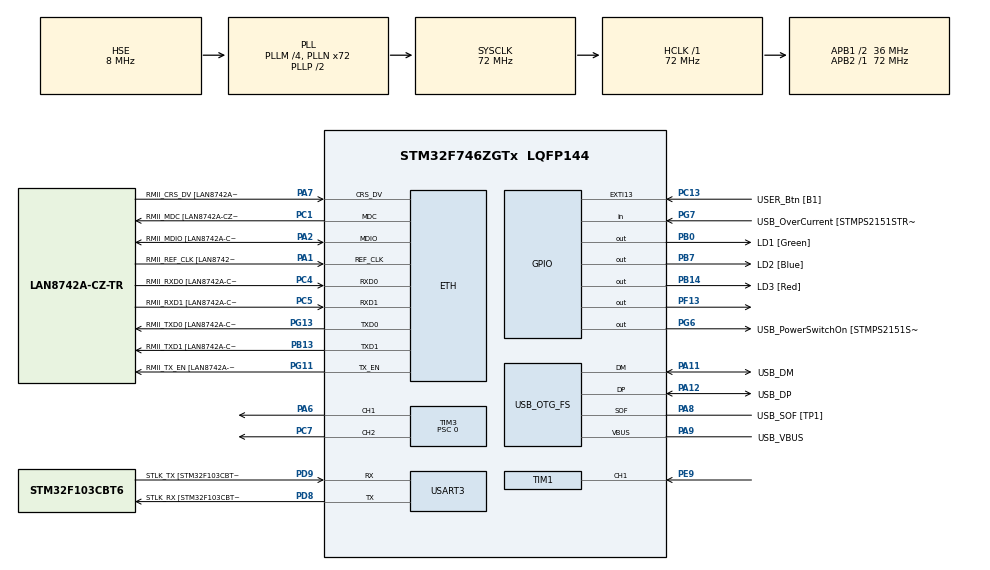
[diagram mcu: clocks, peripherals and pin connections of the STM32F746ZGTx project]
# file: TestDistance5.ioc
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ETH.MediaInterface=HAL_ETH_RMII_MODE
ETH.PHY_Name=LAN8742A_PHY_ADDRESS
ETH.PHY_Value=0
ETH.PhyAddress=0
Mcu.Family=STM32F7
Mcu.Name=STM32F746ZGTx
Mcu.Package=LQFP144
NVIC.PriorityGroup=NVIC_PRIORITYGROUP_4
NVIC.TIM1_CC_IRQn=true\:0\:0\:false\:false\:true\:true\:true\:true
NVIC.TIM3_IRQn=true\:0\:0\:false\:false\:true\:true\:true\:true
NVIC.TIM4_IRQn=true\:0\:0\:false\:false\:true\:true\:true\:true
NVIC.USART3_IRQn=true\:0\:0\:false\:false\:true\:true\:true\:true
PA1.GPIO_Label=RMII_REF_CLK [LAN8742A-CZ-TR_REFCLK0]
PA1.Mode=RMII
PA1.Signal=ETH_REF_CLK
PA10.GPIO_Label=USB_ID
PA10.Signal=USB_OTG_FS_ID
PA11.GPIO_Label=USB_DM
PA11.Mode=Device_Only
PA11.Signal=USB_OTG_FS_DM
PA12.GPIO_Label=USB_DP
PA12.Mode=Device_Only
PA12.Signal=USB_OTG_FS_DP
PA13.GPIO_Label=TMS
PA13.Mode=Serial_Wire
PA13.Signal=SYS_JTMS-SWDIO
PA14.GPIO_Label=TCK
PA14.Mode=Serial_Wire
PA14.Signal=SYS_JTCK-SWCLK
PA2.GPIO_Label=RMII_MDIO [LAN8742A-CZ-TR_MDIO]
PA2.Mode=RMII
PA2.Signal=ETH_MDIO
PA6.Signal=S_TIM3_CH1
PA7.GPIO_Label=RMII_CRS_DV [LAN8742A-CZ-TR_CRS_DV]
PA7.Mode=RMII
PA7.Signal=ETH_CRS_DV
PA8.GPIO_Label=USB_SOF [TP1]
PA8.Mode=Activate_SOF_FS
PA8.Signal=USB_OTG_FS_SOF
PA9.GPIO_Label=USB_VBUS
PA9.Mode=Activate_VBUS
PA9.Signal=USB_OTG_FS_VBUS
PB0.GPIO_Label=LD1 [Green]
PB0.Signal=GPIO_Output
PB13.GPIO_Label=RMII_TXD1 [LAN8742A-CZ-TR_TXD1]
PB13.Mode=RMII
PB13.Signal=ETH_TXD1
PB14.GPIO_Label=LD3 [Red]
PB14.Signal=GPIO_Output
PB3.GPIO_Label=SW0
PB3.Signal=SYS_JTDO-SWO
PB7.GPIO_Label=LD2 [Blue]
PB7.Signal=GPIO_Output
PC1.GPIO_Label=RMII_MDC [LAN8742A-CZ-TR_MDC]
PC1.Mode=RMII
PC1.Signal=ETH_MDC
PC13.GPIO_Label=USER_Btn [B1]
PC13.Signal=GPXTI13
PC14/OSC32_IN.Mode=LSE-External-Oscillator
PC14/OSC32_IN.Signal=RCC_OSC32_IN
PC15/OSC32_OUT.Mode=LSE-External-Oscillator
PC15/OSC32_OUT.Signal=RCC_OSC32_OUT
PC4.GPIO_Label=RMII_RXD0 [LAN8742A-CZ-TR_RXD0]
PC4.Mode=RMII
PC4.Signal=ETH_RXD0
PC5.GPIO_Label=RMII_RXD1 [LAN8742A-CZ-TR_RXD1]
PC5.Mode=RMII
PC5.Signal=ETH_RXD1
PC7.Signal=S_TIM3_CH2
PD8.GPIO_Label=STLK_RX [STM32F103CBT6_PA3]
PD8.GPIO_PuPd=GPIO_PULLUP
PD8.Mode=Asynchronous
PD8.Signal=USART3_TX
PD9.GPIO_Label=STLK_TX [STM32F103CBT6_PA2]
PD9.GPIO_PuPd=GPIO_PULLUP
PD9.Mode=Asynchronous
PD9.Signal=USART3_RX
PE9.Signal=S_TIM1_CH1
PF13.Signal=GPIO_Output
PG11.GPIO_Label=RMII_TX_EN [LAN8742A-CZ-TR_TXEN]
PG11.Mode=RMII
PG11.Signal=ETH_TX_EN
PG13.GPIO_Label=RMII_TXD0 [LAN8742A-CZ-TR_TXD0]
PG13.Mode=RMII
PG13.Signal=ETH_TXD0
PG6.GPIO_Label=USB_PowerSwitchOn [STMPS2151STR_EN]
PG6.Signal=GPIO_Output
PG7.GPIO_Label=USB_OverCurrent [STMPS2151STR_FAULT]
PG7.Signal=GPIO_Input
PH0/OSC_IN.GPIO_Label=MCO [STM32F103CBT6_PA8]
PH0/OSC_IN.Mode=HSE-External-Clock-Source
PH0/OSC_IN.Signal=RCC_OSC_IN
PH1/OSC_OUT.Mode=HSE-External-Clock-Source
PH1/OSC_OUT.Signal=RCC_OSC_OUT
ProjectManager.HeapSize=0x200
ProjectManager.StackSize=0x400
ProjectManager.TargetToolchain=STM32CubeIDE
RCC.48MHZClocksFreq_Value=24000000
RCC.AHBFreq_Value=72000000
RCC.APB1CLKDivider=RCC_HCLK_DIV2
RCC.APB1Freq_Value=36000000
RCC.APB1TimFreq_Value=72000000
RCC.APB2Freq_Value=72000000
RCC.APB2TimFreq_Value=72000000
RCC.CortexFreq_Value=72000000
RCC.HCLKFreq_Value=72000000
RCC.HSE_VALUE=8000000
RCC.HSI_VALUE=16000000
RCC.PLLM=4
RCC.PLLMUL=RCC_PLL_MUL9
RCC.PLLN=72
RCC.PLLQ=3
RCC.PRESCALERUSB=RCC_USBCLKSOURCE_PLL_DIV1_5
RCC.SYSCLKFreq_VALUE=72000000
RCC.SYSCLKSource=RCC_SYSCLKSOURCE_PLLCLK
RCC.SYSCLKSourceVirtual=RCC_SYSCLKSOURCE_PLLCLK
RCC.USBFreq_Value=48000000
RCC.VCOOutputFreq_Value=144000000
SH.S_TIM1_CH1.0=TIM1_CH1,Input_Capture1_from_TI1
SH.S_TIM3_CH1.0=TIM3_CH1,PWM Generation1 CH1
SH.S_TIM3_CH2.0=TIM3_CH2,PWM Generation2 CH2
TIM1.Channel-Input_Capture1_from_TI1=TIM_CHANNEL_1
TIM1.Period=0xffff-1
TIM1.Prescaler=71
TIM3.Channel-PWM\ Generation1\ CH1=TIM_CHANNEL_1
TIM3.Channel-PWM\ Generation2\ CH2=TIM_CHANNEL_2
TIM3.Period=1000
TIM3.Prescaler=0
TIM3.Pulse-PWM\ Generation2\ CH2=0
TIM4.Prescaler=72-1
USART3.VirtualMode-Asynchronous=VM_ASYNC
USB_OTG_FS.VirtualMode=Device_Only
VP_TIM3_VS_ClockSourceINT.Mode=Internal
VP_TIM4_VS_ClockSourceINT.Mode=Internal
board=NUCLEO-F746ZG

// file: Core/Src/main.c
/* USER CODE BEGIN Header */
/**
  ******************************************************************************
  * @file           : main.c
  * @brief          : Main program body
  ******************************************************************************
  * @attention
  *
  * Copyright (c) 2024 STMicroelectronics.
  * All rights reserved.
  *
  * This software is licensed under terms that can be found in the LICENSE file
  * in the root directory of this software component.
  * If no LICENSE file comes with this software, it is provided AS-IS.
  *
  ******************************************************************************
  */
/* USER CODE END Header */
#include "main.h"
#include "string.h"

/* USER CODE BEGIN Includes */
#include <stdio.h>
#include <stdlib.h>

/* USER CODE END Includes */

#if defined ( __ICCARM__ ) /*!< IAR Compiler */
#pragma location=0x2004c000
ETH_DMADescTypeDef  DMARxDscrTab[ETH_RX_DESC_CNT]; /* Ethernet Rx DMA Descriptors */
#pragma location=0x2004c0a0
ETH_DMADescTypeDef  DMATxDscrTab[ETH_TX_DESC_CNT]; /* Ethernet Tx DMA Descriptors */

#elif defined ( __CC_ARM )  /* MDK ARM Compiler */

__attribute__((at(0x2004c000))) ETH_DMADescTypeDef  DMARxDscrTab[ETH_RX_DESC_CNT]; /* Ethernet Rx DMA Descriptors */
__attribute__((at(0x2004c0a0))) ETH_DMADescTypeDef  DMATxDscrTab[ETH_TX_DESC_CNT]; /* Ethernet Tx DMA Descriptors */

#elif defined ( __GNUC__ ) /* GNU Compiler */
ETH_DMADescTypeDef DMARxDscrTab[ETH_RX_DESC_CNT] __attribute__((section(".RxDecripSection"))); /* Ethernet Rx DMA Descriptors */
ETH_DMADescTypeDef DMATxDscrTab[ETH_TX_DESC_CNT] __attribute__((section(".TxDecripSection")));   /* Ethernet Tx DMA Descriptors */

#endif

ETH_TxPacketConfig TxConfig;

ETH_HandleTypeDef heth;

TIM_HandleTypeDef htim1;
TIM_HandleTypeDef htim3;
TIM_HandleTypeDef htim4;

UART_HandleTypeDef huart3;

PCD_HandleTypeDef hpcd_USB_OTG_FS;

void SystemClock_Config(void);
static void MX_GPIO_Init(void);
static void MX_ETH_Init(void);
static void MX_USART3_UART_Init(void);
static void MX_USB_OTG_FS_PCD_Init(void);
static void MX_TIM1_Init(void);
static void MX_TIM3_Init(void);
static void MX_TIM4_Init(void);

/* USER CODE BEGIN 0 */

uint32_t IC_Val1 = 0;
uint32_t IC_Val2 = 0;
uint32_t Difference = 0;
uint8_t Is_First_Captured = 0;
uint8_t Distance  = 0;
uint8_t Target_value = 5;

#define TRIG_PIN GPIO_PIN_13
#define TRIG_PORT GPIOF

void HAL_TIM_IC_CaptureCallback(TIM_HandleTypeDef *htim)
{
	if (htim->Channel == HAL_TIM_ACTIVE_CHANNEL_1)
	{
		if (Is_First_Captured==0)
		{
			IC_Val1 = HAL_TIM_ReadCapturedValue(htim, TIM_CHANNEL_1);
			Is_First_Captured = 1;

			__HAL_TIM_SET_CAPTUREPOLARITY(htim, TIM_CHANNEL_1, TIM_INPUTCHANNELPOLARITY_FALLING);
		}

		else if (Is_First_Captured==1)
		{
			IC_Val2 = HAL_TIM_ReadCapturedValue(htim, TIM_CHANNEL_1);
			__HAL_TIM_SET_COUNTER(htim, 0);

			if (IC_Val2 > IC_Val1)
			{
				Difference = IC_Val2-IC_Val1;
			}

			else if (IC_Val1 > IC_Val2)
			{
				Difference = (0xffff - IC_Val1) + IC_Val2;
			}

			Distance = Difference * 0.034/2;
			Is_First_Captured = 0;

			__HAL_TIM_SET_CAPTUREPOLARITY(htim, TIM_CHANNEL_1, TIM_INPUTCHANNELPOLARITY_RISING);
			__HAL_TIM_DISABLE_IT(&htim1, TIM_IT_CC1);
		}
	}
}

void delay(uint8_t time){
	__HAL_TIM_SET_COUNTER(&htim1,0);
	while (__HAL_TIM_GET_COUNTER(&htim1) < time);
}

void HCSR04_Read (void)
{
	HAL_GPIO_WritePin(TRIG_PORT, TRIG_PIN, GPIO_PIN_SET);
	delay(10);
	HAL_GPIO_WritePin(TRIG_PORT, TRIG_PIN, GPIO_PIN_RESET);

	__HAL_TIM_ENABLE_IT(&htim1, TIM_IT_CC1);
}

int __io_putchar(int ch)
{
  if (ch == '\n') {
    __io_putchar('\r');
  }

  HAL_UART_Transmit(&huart3, (uint8_t*)&ch, 1, HAL_MAX_DELAY);

  return 1;
}

int p1 = 300;
int p2 = 300;

uint8_t tx_buffer[32];

void HAL_UART_RxCpltCallback(UART_HandleTypeDef *huart)
{
	if(huart == &huart3)
	{
		p1 = 300;
		p2 = 300;

		int Target = strtol((char*)&tx_buffer[1], 0, 10);

		if(tx_buffer[0] == '0' )
			Target_value = Target;
		else if(tx_buffer[0] == '1')
			Target_value = Target + 10;

		HAL_UART_Receive_IT(&huart3, tx_buffer, 2);
	}
}

void HAL_TIM_PeriodElapsedCallback (TIM_HandleTypeDef *htim)
{
  if (htim->Instance == htim4.Instance)
  {
	  HCSR04_Read();
  }
}
/* USER CODE END 0 */

int main(void)
{

  /* MCU Configuration--------------------------------------------------------*/

  /* Reset of all peripherals, Initializes the Flash interface and the Systick. */
  HAL_Init();

  /* Configure the system clock */
  SystemClock_Config();

  /* Initialize all configured peripherals */
  MX_GPIO_Init();
  MX_ETH_Init();
  MX_USART3_UART_Init();
  MX_USB_OTG_FS_PCD_Init();
  MX_TIM1_Init();
  MX_TIM3_Init();
  MX_TIM4_Init();
  /* USER CODE BEGIN 2 */
  HAL_TIM_IC_Start_IT(&htim1, TIM_CHANNEL_1);
  HAL_UART_Receive_IT(&huart3, tx_buffer, 2);

  HAL_TIM_PWM_Start(&htim3,TIM_CHANNEL_1);
  HAL_TIM_PWM_Start(&htim3,TIM_CHANNEL_2);

  HAL_TIM_Base_Start_IT(&htim4);

  /* USER CODE END 2 */

  /* Infinite loop */
  /* USER CODE BEGIN WHILE */
  while (1)
  {

	  if(p1>1800){
		  p1= 1800;
	  }

	  if(p2>1800){
		  p2= 1800;
	  }

	  if(p1<300){
		  p1 = 300;
	  }

	  if(p2<300){
		  p2 = 300;
	  }

	  printf("Current distance = %u\n", Distance);
	  printf("Target value: = %u\n", Target_value);
	  printf("p1 = %u\n", p1);
	  printf("p2 = %u\n", p2);

	  if(Distance < Target_value){
		  p1 = p1-1;
		  p2 = p2+1;

		  TIM3->CCR1 = p1;
		  TIM3->CCR2 = p2;
		  HAL_GPIO_WritePin(LD2_GPIO_Port, LD2_Pin, 0);
		  HAL_GPIO_WritePin(LD3_GPIO_Port, LD3_Pin, 0);
	  }else if(Distance > Target_value){
		  p1 = p1+1;
		  p2 = p2-1;

		  TIM3->CCR1 = p1;
		  TIM3->CCR2 = p2;
		  HAL_GPIO_WritePin(LD2_GPIO_Port, LD2_Pin, 1);
		  HAL_GPIO_WritePin(LD3_GPIO_Port, LD3_Pin, 0);
	  }else{
		  TIM3->CCR1 = 100;
		  TIM3->CCR2 = 100;

		  HAL_GPIO_WritePin(LD3_GPIO_Port, LD3_Pin, 1);
		  HAL_GPIO_WritePin(LD2_GPIO_Port, LD2_Pin, 0);
	  }

    /* USER CODE END WHILE */

  }
}

void SystemClock_Config(void)
{
  RCC_OscInitTypeDef RCC_OscInitStruct = {0};
  RCC_ClkInitTypeDef RCC_ClkInitStruct = {0};

  /** Configure LSE Drive Capability
  */
  HAL_PWR_EnableBkUpAccess();

  /** Configure the main internal regulator output voltage
  */
  __HAL_RCC_PWR_CLK_ENABLE();
  __HAL_PWR_VOLTAGESCALING_CONFIG(PWR_REGULATOR_VOLTAGE_SCALE3);

  /** Initializes the RCC Oscillators according to the specified parameters
  * in the RCC_OscInitTypeDef structure.
  */
  RCC_OscInitStruct.OscillatorType = RCC_OSCILLATORTYPE_HSE;
  RCC_OscInitStruct.HSEState = RCC_HSE_BYPASS;
  RCC_OscInitStruct.PLL.PLLState = RCC_PLL_ON;
  RCC_OscInitStruct.PLL.PLLSource = RCC_PLLSOURCE_HSE;
  RCC_OscInitStruct.PLL.PLLM = 4;
  RCC_OscInitStruct.PLL.PLLN = 72;
  RCC_OscInitStruct.PLL.PLLP = RCC_PLLP_DIV2;
  RCC_OscInitStruct.PLL.PLLQ = 3;
  if (HAL_RCC_OscConfig(&RCC_OscInitStruct) != HAL_OK)
  {
    Error_Handler();
  }

  /** Initializes the CPU, AHB and APB buses clocks
  */
  RCC_ClkInitStruct.ClockType = RCC_CLOCKTYPE_HCLK|RCC_CLOCKTYPE_SYSCLK
                              |RCC_CLOCKTYPE_PCLK1|RCC_CLOCKTYPE_PCLK2;
  RCC_ClkInitStruct.SYSCLKSource = RCC_SYSCLKSOURCE_PLLCLK;
  RCC_ClkInitStruct.AHBCLKDivider = RCC_SYSCLK_DIV1;
  RCC_ClkInitStruct.APB1CLKDivider = RCC_HCLK_DIV2;
  RCC_ClkInitStruct.APB2CLKDivider = RCC_HCLK_DIV1;

  if (HAL_RCC_ClockConfig(&RCC_ClkInitStruct, FLASH_LATENCY_2) != HAL_OK)
  {
    Error_Handler();
  }
}

static void MX_ETH_Init(void)
{

   static uint8_t MACAddr[6];

  heth.Instance = ETH;
  MACAddr[0] = 0x00;
  MACAddr[1] = 0x80;
  MACAddr[2] = 0xE1;
  MACAddr[3] = 0x00;
  MACAddr[4] = 0x00;
  MACAddr[5] = 0x00;
  heth.Init.MACAddr = &MACAddr[0];
  heth.Init.MediaInterface = HAL_ETH_RMII_MODE;
  heth.Init.TxDesc = DMATxDscrTab;
  heth.Init.RxDesc = DMARxDscrTab;
  heth.Init.RxBuffLen = 1524;

  if (HAL_ETH_Init(&heth) != HAL_OK)
  {
    Error_Handler();
  }

  memset(&TxConfig, 0 , sizeof(ETH_TxPacketConfig));
  TxConfig.Attributes = ETH_TX_PACKETS_FEATURES_CSUM | ETH_TX_PACKETS_FEATURES_CRCPAD;
  TxConfig.ChecksumCtrl = ETH_CHECKSUM_IPHDR_PAYLOAD_INSERT_PHDR_CALC;
  TxConfig.CRCPadCtrl = ETH_CRC_PAD_INSERT;

}

static void MX_TIM1_Init(void)
{

  TIM_MasterConfigTypeDef sMasterConfig = {0};
  TIM_IC_InitTypeDef sConfigIC = {0};

  htim1.Instance = TIM1;
  htim1.Init.Prescaler = 71;
  htim1.Init.CounterMode = TIM_COUNTERMODE_UP;
  htim1.Init.Period = 0xffff-1;
  htim1.Init.ClockDivision = TIM_CLOCKDIVISION_DIV1;
  htim1.Init.RepetitionCounter = 0;
  htim1.Init.AutoReloadPreload = TIM_AUTORELOAD_PRELOAD_DISABLE;
  if (HAL_TIM_IC_Init(&htim1) != HAL_OK)
  {
    Error_Handler();
  }
  sMasterConfig.MasterOutputTrigger = TIM_TRGO_RESET;
  sMasterConfig.MasterOutputTrigger2 = TIM_TRGO2_RESET;
  sMasterConfig.MasterSlaveMode = TIM_MASTERSLAVEMODE_DISABLE;
  if (HAL_TIMEx_MasterConfigSynchronization(&htim1, &sMasterConfig) != HAL_OK)
  {
    Error_Handler();
  }
  sConfigIC.ICPolarity = TIM_INPUTCHANNELPOLARITY_RISING;
  sConfigIC.ICSelection = TIM_ICSELECTION_DIRECTTI;
  sConfigIC.ICPrescaler = TIM_ICPSC_DIV1;
  sConfigIC.ICFilter = 0;
  if (HAL_TIM_IC_ConfigChannel(&htim1, &sConfigIC, TIM_CHANNEL_1) != HAL_OK)
  {
    Error_Handler();
  }

}

static void MX_TIM3_Init(void)
{

  TIM_ClockConfigTypeDef sClockSourceConfig = {0};
  TIM_MasterConfigTypeDef sMasterConfig = {0};
  TIM_OC_InitTypeDef sConfigOC = {0};

  htim3.Instance = TIM3;
  htim3.Init.Prescaler = 0;
  htim3.Init.CounterMode = TIM_COUNTERMODE_UP;
  htim3.Init.Period = 1000;
  htim3.Init.ClockDivision = TIM_CLOCKDIVISION_DIV1;
  htim3.Init.AutoReloadPreload = TIM_AUTORELOAD_PRELOAD_DISABLE;
  if (HAL_TIM_Base_Init(&htim3) != HAL_OK)
  {
    Error_Handler();
  }
  sClockSourceConfig.ClockSource = TIM_CLOCKSOURCE_INTERNAL;
  if (HAL_TIM_ConfigClockSource(&htim3, &sClockSourceConfig) != HAL_OK)
  {
    Error_Handler();
  }
  if (HAL_TIM_PWM_Init(&htim3) != HAL_OK)
  {
    Error_Handler();
  }
  sMasterConfig.MasterOutputTrigger = TIM_TRGO_RESET;
  sMasterConfig.MasterSlaveMode = TIM_MASTERSLAVEMODE_DISABLE;
  if (HAL_TIMEx_MasterConfigSynchronization(&htim3, &sMasterConfig) != HAL_OK)
  {
    Error_Handler();
  }
  sConfigOC.OCMode = TIM_OCMODE_PWM1;
  sConfigOC.Pulse = 0;
  sConfigOC.OCPolarity = TIM_OCPOLARITY_HIGH;
  sConfigOC.OCFastMode = TIM_OCFAST_DISABLE;
  if (HAL_TIM_PWM_ConfigChannel(&htim3, &sConfigOC, TIM_CHANNEL_1) != HAL_OK)
  {
    Error_Handler();
  }
  if (HAL_TIM_PWM_ConfigChannel(&htim3, &sConfigOC, TIM_CHANNEL_2) != HAL_OK)
  {
    Error_Handler();
  }
  HAL_TIM_MspPostInit(&htim3);

}

static void MX_TIM4_Init(void)
{

  TIM_ClockConfigTypeDef sClockSourceConfig = {0};
  TIM_MasterConfigTypeDef sMasterConfig = {0};

  htim4.Instance = TIM4;
  htim4.Init.Prescaler = 72-1;
  htim4.Init.CounterMode = TIM_COUNTERMODE_UP;
  htim4.Init.Period = 65535;
  htim4.Init.ClockDivision = TIM_CLOCKDIVISION_DIV1;
  htim4.Init.AutoReloadPreload = TIM_AUTORELOAD_PRELOAD_DISABLE;
  if (HAL_TIM_Base_Init(&htim4) != HAL_OK)
  {
    Error_Handler();
  }
  sClockSourceConfig.ClockSource = TIM_CLOCKSOURCE_INTERNAL;
  if (HAL_TIM_ConfigClockSource(&htim4, &sClockSourceConfig) != HAL_OK)
  {
    Error_Handler();
  }
  sMasterConfig.MasterOutputTrigger = TIM_TRGO_RESET;
  sMasterConfig.MasterSlaveMode = TIM_MASTERSLAVEMODE_DISABLE;
  if (HAL_TIMEx_MasterConfigSynchronization(&htim4, &sMasterConfig) != HAL_OK)
  {
    Error_Handler();
  }

}

static void MX_USART3_UART_Init(void)
{

  huart3.Instance = USART3;
  huart3.Init.BaudRate = 115200;
  huart3.Init.WordLength = UART_WORDLENGTH_8B;
  huart3.Init.StopBits = UART_STOPBITS_1;
  huart3.Init.Parity = UART_PARITY_NONE;
  huart3.Init.Mode = UART_MODE_TX_RX;
  huart3.Init.HwFlowCtl = UART_HWCONTROL_NONE;
  huart3.Init.OverSampling = UART_OVERSAMPLING_16;
  huart3.Init.OneBitSampling = UART_ONE_BIT_SAMPLE_DISABLE;
  huart3.AdvancedInit.AdvFeatureInit = UART_ADVFEATURE_NO_INIT;
  if (HAL_UART_Init(&huart3) != HAL_OK)
  {
    Error_Handler();
  }

}

static void MX_USB_OTG_FS_PCD_Init(void)
{

  hpcd_USB_OTG_FS.Instance = USB_OTG_FS;
  hpcd_USB_OTG_FS.Init.dev_endpoints = 6;
  hpcd_USB_OTG_FS.Init.speed = PCD_SPEED_FULL;
  hpcd_USB_OTG_FS.Init.dma_enable = DISABLE;
  hpcd_USB_OTG_FS.Init.phy_itface = PCD_PHY_EMBEDDED;
  hpcd_USB_OTG_FS.Init.Sof_enable = ENABLE;
  hpcd_USB_OTG_FS.Init.low_power_enable = DISABLE;
  hpcd_USB_OTG_FS.Init.lpm_enable = DISABLE;
  hpcd_USB_OTG_FS.Init.vbus_sensing_enable = ENABLE;
  hpcd_USB_OTG_FS.Init.use_dedicated_ep1 = DISABLE;
  if (HAL_PCD_Init(&hpcd_USB_OTG_FS) != HAL_OK)
  {
    Error_Handler();
  }

}

static void MX_GPIO_Init(void)
{
  GPIO_InitTypeDef GPIO_InitStruct = {0};

  /* GPIO Ports Clock Enable */
  __HAL_RCC_GPIOC_CLK_ENABLE();
  __HAL_RCC_GPIOH_CLK_ENABLE();
  __HAL_RCC_GPIOA_CLK_ENABLE();
  __HAL_RCC_GPIOB_CLK_ENABLE();
  __HAL_RCC_GPIOF_CLK_ENABLE();
  __HAL_RCC_GPIOE_CLK_ENABLE();
  __HAL_RCC_GPIOD_CLK_ENABLE();
  __HAL_RCC_GPIOG_CLK_ENABLE();

  /*Configure GPIO pin Output Level */
  HAL_GPIO_WritePin(GPIOB, LD1_Pin|LD3_Pin|LD2_Pin, GPIO_PIN_RESET);

  /*Configure GPIO pin Output Level */
  HAL_GPIO_WritePin(GPIOF, GPIO_PIN_13, GPIO_PIN_RESET);

  /*Configure GPIO pin Output Level */
  HAL_GPIO_WritePin(USB_PowerSwitchOn_GPIO_Port, USB_PowerSwitchOn_Pin, GPIO_PIN_RESET);

  /*Configure GPIO pin : USER_Btn_Pin */
  GPIO_InitStruct.Pin = USER_Btn_Pin;
  GPIO_InitStruct.Mode = GPIO_MODE_IT_RISING;
  GPIO_InitStruct.Pull = GPIO_NOPULL;
  HAL_GPIO_Init(USER_Btn_GPIO_Port, &GPIO_InitStruct);

  /*Configure GPIO pins : LD1_Pin LD3_Pin LD2_Pin */
  GPIO_InitStruct.Pin = LD1_Pin|LD3_Pin|LD2_Pin;
  GPIO_InitStruct.Mode = GPIO_MODE_OUTPUT_PP;
  GPIO_InitStruct.Pull = GPIO_NOPULL;
  GPIO_InitStruct.Speed = GPIO_SPEED_FREQ_LOW;
  HAL_GPIO_Init(GPIOB, &GPIO_InitStruct);

  /*Configure GPIO pin : PF13 */
  GPIO_InitStruct.Pin = GPIO_PIN_13;
  GPIO_InitStruct.Mode = GPIO_MODE_OUTPUT_PP;
  GPIO_InitStruct.Pull = GPIO_NOPULL;
  GPIO_InitStruct.Speed = GPIO_SPEED_FREQ_LOW;
  HAL_GPIO_Init(GPIOF, &GPIO_InitStruct);

  /*Configure GPIO pin : USB_PowerSwitchOn_Pin */
  GPIO_InitStruct.Pin = USB_PowerSwitchOn_Pin;
  GPIO_InitStruct.Mode = GPIO_MODE_OUTPUT_PP;
  GPIO_InitStruct.Pull = GPIO_NOPULL;
  GPIO_InitStruct.Speed = GPIO_SPEED_FREQ_LOW;
  HAL_GPIO_Init(USB_PowerSwitchOn_GPIO_Port, &GPIO_InitStruct);

  /*Configure GPIO pin : USB_OverCurrent_Pin */
  GPIO_InitStruct.Pin = USB_OverCurrent_Pin;
  GPIO_InitStruct.Mode = GPIO_MODE_INPUT;
  GPIO_InitStruct.Pull = GPIO_NOPULL;
  HAL_GPIO_Init(USB_OverCurrent_GPIO_Port, &GPIO_InitStruct);

}

void Error_Handler(void)
{
  __disable_irq();
  while (1)
  {
  }
}
